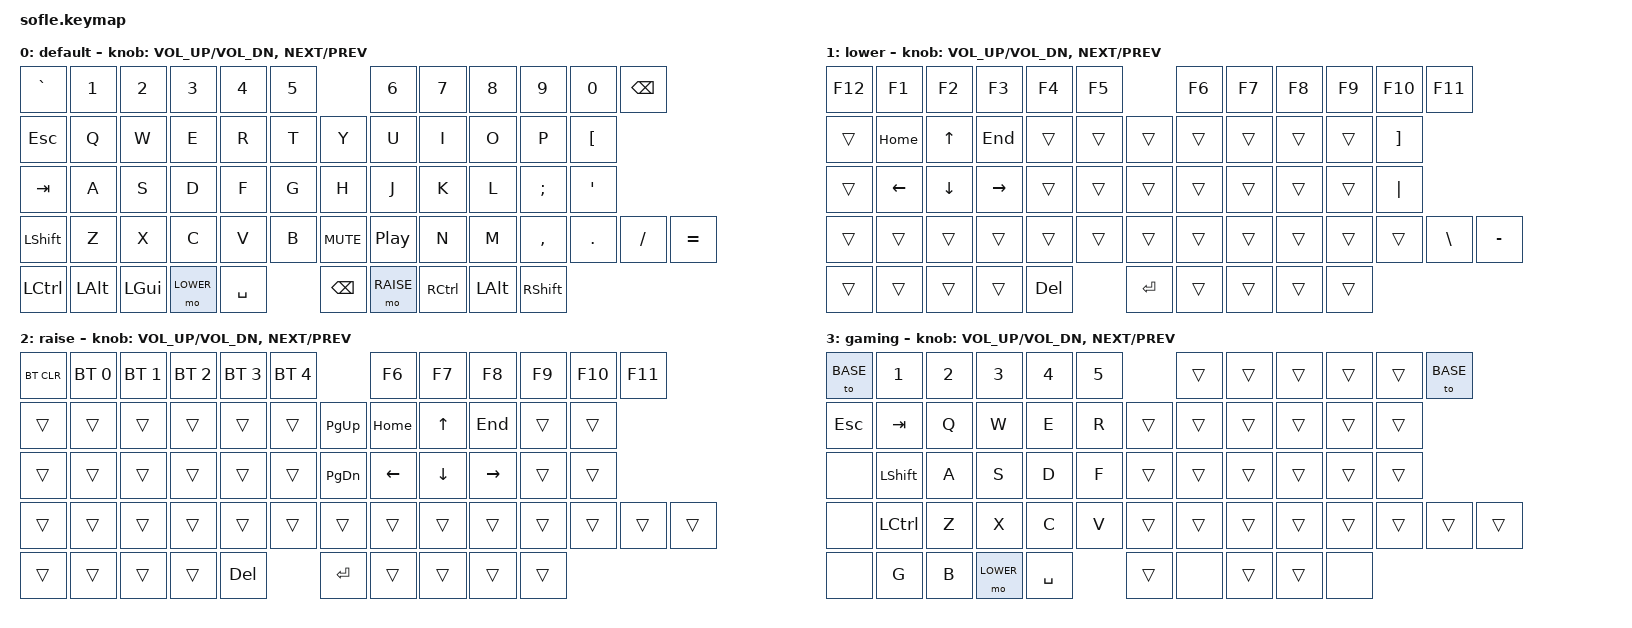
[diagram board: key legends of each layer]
/*
 * Copyright (c) 2020 The ZMK Contributors
 *
 * SPDX-License-Identifier: MIT
 */

#include <behaviors.dtsi>
#include <dt-bindings/zmk/keys.h>
#include <dt-bindings/zmk/bt.h>
#include <behaviors/nyffels_art.dtsi>

#define BASE 0
#define LOWER 1
#define RAISE 2
#define GAME 3

&led_strip {
    chain-length = <36>;
};

&nice_view_spi {
    cs-gpios = <&pro_micro 4 GPIO_ACTIVE_HIGH>;
};

/ {

    // Global physical combo: works on BASE, LOWER, RAISE and GAME.
    combos {
        compatible = "zmk,combos";
        combo_gaming_toggle {
            timeout-ms = <200>;
            key-positions = <53 56>;
            bindings = <&tog GAME>;
            slow-release;
        };
    };

    keymap {
        compatible = "zmk,keymap";

        default_layer {
            display-name = "default";
                // ------------------------------------------------------------------------------------------------------------
                // |   `   |  1  |  2  |  3   |  4   |  5   |                   |  6   |  7    |  8    |  9   |   0   | BKSPC |
                // |  ESC  |  Q  |  W  |  E   |  R   |  T   |                   |  Y   |  U    |  I    |  O   |   P   |   [   |
                // |  TAB  |  A  |  S  |  D   |  F   |  G   |                   |  H   |  J    |  K    |  L   |   ;   |   '   |
                // | SHIFT |  Z  |  X  |  C   |  V   |  B   |  MUTE  |  | PLAY  |  N   |  M    |  ,    |  .   |   /   |   =   |

                //               | CTRL | ALT | GUI | LOWER | SPACE | | BSPC | RAISE | RCTRL | LALT | RSHIFT |
            bindings = <
                &kp GRAVE &kp N1 &kp N2   &kp N3   &kp N4    &kp N5                           &kp N6 &kp N7    &kp N8    &kp N9   &kp N0   &kp BSPC
                &kp ESC   &kp Q  &kp W    &kp E    &kp R     &kp T                            &kp Y  &kp U     &kp I     &kp O    &kp P    &kp LBKT
                &kp TAB   &kp A  &kp S    &kp D    &kp F     &kp G                            &kp H  &kp J     &kp K     &kp L    &kp SEMI &kp SQT
                &kp LSHFT &kp Z  &kp X    &kp C    &kp V     &kp B      &kp C_MUTE &kp C_PP      &kp N  &kp M     &kp COMMA &kp DOT  &kp FSLH &kp EQUAL
                                &kp LCTRL &kp LALT &kp LGUI &mo LOWER  &kp SPACE    &kp BSPC  &mo RAISE  &kp RCTRL &kp LALT  &kp RSHFT
            >;
            sensor-bindings = <
                &inc_dec_kp C_VOL_UP C_VOL_DN 
                &inc_dec_kp C_NEXT C_PREV
                >;
        };

        lower_layer {
            display-name = "lower";
            // Transparent positions inherit from BASE.
            // Left / right halves; encoder clicks are between the bottom rows.
            // | F12 | F1   | F2   | F3    | F4 | F5 |   | F6 | F7 | F8 | F9 | F10 | F11 |
            // |  v  | HOME | UP   | END   | v  | v  |   | v  | v  | v  | v  | v   |  ]  |
            // |  v  | LEFT | DOWN | RIGHT | v  | v  |   | v  | v  | v  | v  | v   | PIPE|
            // Thumb positions 54 / 55 are Delete / Enter. LOWER + RAISE is a global GAME toggle; remaining positions are transparent.
            bindings = <
                &kp F12    &kp F1    &kp F2    &kp F3      &kp F4    &kp F5                    &kp F6    &kp F7   &kp F8    &kp F9    &kp F10   &kp F11
                &trans &kp HOME    &kp UP    &kp END      &trans    &trans                    &trans    &trans   &trans    &trans    &trans    &kp RBKT
                &trans    &kp LEFT  &kp DOWN    &kp RIGHT    &trans  &trans                 &trans &trans &trans &trans  &trans  &kp PIPE
                &trans    &trans &trans &trans &trans  &trans   &trans &trans  &trans  &trans &trans  &trans &kp BSLH  &kp MINUS
                                    &trans    &trans      &trans    &trans     &kp DEL &kp RET  &trans    &trans   &trans    &trans
            >;
            sensor-bindings = <
                &inc_dec_kp C_VOL_UP C_VOL_DN 
                &inc_dec_kp C_NEXT C_PREV
            >;
        };

        raise_layer {
            display-name = "raise";
            // Transparent positions inherit from BASE.
            // | BTCLR | BT1 | BT2 | BT3 | BT4 | BT5 |   | F6   | F7   | F8   | F9    | F10 | F11 |
            // | v     | v   | v   | v   | v   | v   |   | PGUP | HOME | UP   | END   | v   | v   |
            // | v     | v   | v   | v   | v   | v   |   | PGDN | LEFT | DOWN | RIGHT | v   | v   |
            // Thumb positions 54 / 55 are Delete / Enter. LOWER + RAISE is a global GAME toggle; remaining positions are transparent.
            bindings = <
                &bt BT_CLR &bt BT_SEL 0 &bt BT_SEL 1 &bt BT_SEL 2 &bt BT_SEL 3 &bt BT_SEL 4                  &kp F6    &kp F7    &kp F8   &kp F9    &kp F10  &kp F11
                &trans     &trans      &trans    &trans  &trans       &trans                        &kp PG_UP &kp HOME    &kp UP   &kp END    &trans  &trans
                &trans     &trans     &trans    &trans    &trans       &trans                      &kp PG_DN &kp LEFT  &kp DOWN &kp RIGHT &trans &trans
                &trans     &trans   &trans    &trans   &trans  &trans        &trans  &trans  &trans    &trans    &trans   &trans    &trans  &trans
                                        &trans       &trans       &trans       &trans        &kp DEL  &kp RET  &trans    &trans    &trans   &trans
            >;
            sensor-bindings = <
                &inc_dec_kp C_VOL_UP C_VOL_DN 
                &inc_dec_kp C_NEXT C_PREV
            >;
        };


        gaming_layer {
            display-name = "gaming";
            // Press LOWER + RAISE together to toggle GAME on/off; release both before repeating.
            // Either top corner in GAME returns directly to BASE.
            // Position 53 remains LOWER instead of the previous gaming number 5.
            bindings = <
                &to BASE &kp N1 &kp N2 &kp N3 &kp N4 &kp N5 &trans &trans &trans &trans &trans &to BASE
                &kp ESC &kp TAB &kp Q &kp W &kp E &kp R &trans &trans &trans &trans &trans &trans
                &none &kp LSHFT &kp A &kp S &kp D &kp F &trans &trans &trans &trans &trans &trans
                &none &kp LCTRL &kp Z &kp X &kp C &kp V &trans &trans &trans &trans &trans &trans &trans &trans
                &none &kp G &kp B &mo LOWER &kp SPACE &trans &none &trans &trans &none
            >;
            sensor-bindings = <
                &inc_dec_kp C_VOL_UP C_VOL_DN
                &inc_dec_kp C_NEXT C_PREV
            >;
        };

    };
};
